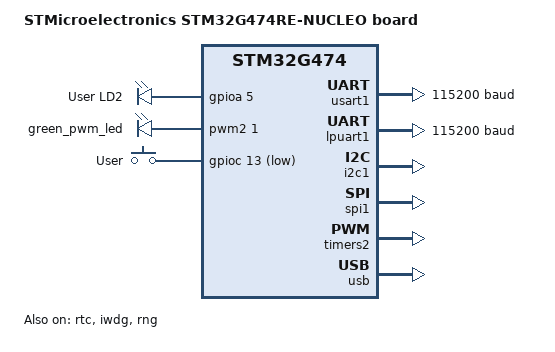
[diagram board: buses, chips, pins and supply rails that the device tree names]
/*
 * Copyright (c) 2019 STMicroelectronics.
 *
 * SPDX-License-Identifier: Apache-2.0
 */

/dts-v1/;
#include <st/g4/stm32g474Xe.dtsi>
#include "arduino_r3_connector.dtsi"

/ {
	model = "STMicroelectronics STM32G474RE-NUCLEO board";
	compatible = "st,stm32g474re-nucleo", "st,stm32g474";

	chosen {
		zephyr,console = &lpuart1;
		zephyr,shell-uart = &lpuart1;
		zephyr,sram = &sram0;
		zephyr,flash = &flash0;
	};

	leds {
		compatible = "gpio-leds";
		green_led: led_0 {
			gpios = <&gpioa 5 GPIO_ACTIVE_HIGH>;
			label = "User LD2";
		};
	};

	pwmleds {
		compatible = "pwm-leds";

		green_pwm_led: green_pwm_led {
			pwms = <&pwm2 1 4 PWM_POLARITY_NORMAL>;
		};
	};

	gpio_keys {
		compatible = "gpio-keys";
		user_button: button {
			label = "User";
			gpios = <&gpioc 13 GPIO_ACTIVE_LOW>;
		};
	};

	aliases {
		led0 = &green_led;
		pwm-led0 = &green_pwm_led;
		sw0 = &user_button;
	};
};

&usart1 {
	current-speed = <115200>;
	status = "okay";
};

&lpuart1 {
	current-speed = <115200>;
	status = "okay";
};

&i2c1 {
	status = "okay";
};

&spi1 {
	status = "okay";
};

&timers2 {
	status = "okay";

	pwm2: pwm {
		status = "okay";
	};
};

&usb {
	status = "okay";
};

&rtc {
	status = "okay";
};

&flash0 {
	/*
	 * For more information, see:
	 * https://docs.zephyrproject.org/latest/guides/dts/legacy-macros.html#legacy-flash-partitions
	 */
	partitions {
		compatible = "fixed-partitions";
		#address-cells = <1>;
		#size-cells = <1>;

		/* Set 2Kb of storage at the end of the 128Kb of flash */
		storage_partition: partition@1f800 {
			label = "storage";
			reg = <0x0001f800 0x00000800>;
		};
	};
};

&iwdg {
	status = "okay";
};

&rng {
	status = "okay";
};
